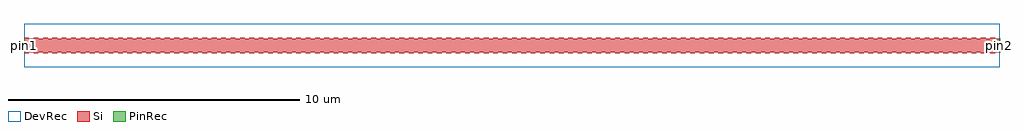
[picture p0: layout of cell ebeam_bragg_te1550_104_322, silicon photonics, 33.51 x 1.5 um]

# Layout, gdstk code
import gdstk
lib = gdstk.Library(unit=1e-6, precision=1e-09)
def R(c, l, rs):  # rectangles x0, y0, x1, y1
    for r in rs: c.add(gdstk.rectangle(r[:2], r[2:], *l))
def A(c, l, x, y, w, h, nx, ny, dx, dy):  # array of equal rectangles
    R(c, l, [(x+i*dx, y+j*dy, x+i*dx+w, y+j*dy+h) for i in range(nx) for j in range(ny)])
Si = (1, 0)
PinRec = (1, 10)
DevRec = (68, 0)

ebeam_bragg_te1550_104_3 = lib.new_cell('ebeam_bragg_te1550_104_322')
A(ebeam_bragg_te1550_104_3, Si, 0, -0.26, 0.161, 0.26, 104, 2, 0.322, 0.26)
A(ebeam_bragg_te1550_104_3, Si, 0.161, -0.24, 0.161, 0.24, 104, 2, 0.322, 0.24)
R(ebeam_bragg_te1550_104_3, DevRec, [(0,-0.75,33.488,0.75)])
ebeam_bragg_te1550_104_3.add(gdstk.FlexPath([(0.01,0),(-0.01,0)], 0.5, ends="flush", simple_path=True, layer=1, datatype=10))  # PinRec
ebeam_bragg_te1550_104_3.add(gdstk.FlexPath([(33.478,0),(33.498,0)], 0.5, ends="flush", simple_path=True, layer=1, datatype=10))  # PinRec
ebeam_bragg_te1550_104_3.add(gdstk.Label('pin1', (0,0), layer=1, texttype=10))
ebeam_bragg_te1550_104_3.add(gdstk.Label('pin2', (33.488,0), layer=1, texttype=10))
ebeam_bragg_te1550_104_3.add(gdstk.Label('Lumerical_INTERCONNECT_library=Design kits/ebeam', (0,0), layer=68, texttype=0))
ebeam_bragg_te1550_104_3.add(gdstk.Label('Component=ebeam_bragg_te1550', (3.348,0), layer=68, texttype=0))
ebeam_bragg_te1550_104_3.add(gdstk.Label('Spice_param:number_of_periods=104 grating_period=3.22e-07 corrugation_width=2e-08 misalignment=0 sinusoidal=0', (3.72,0), layer=68, texttype=0))

lib.write_gds('ebeam_bragg_te1550_104_322.gds')
